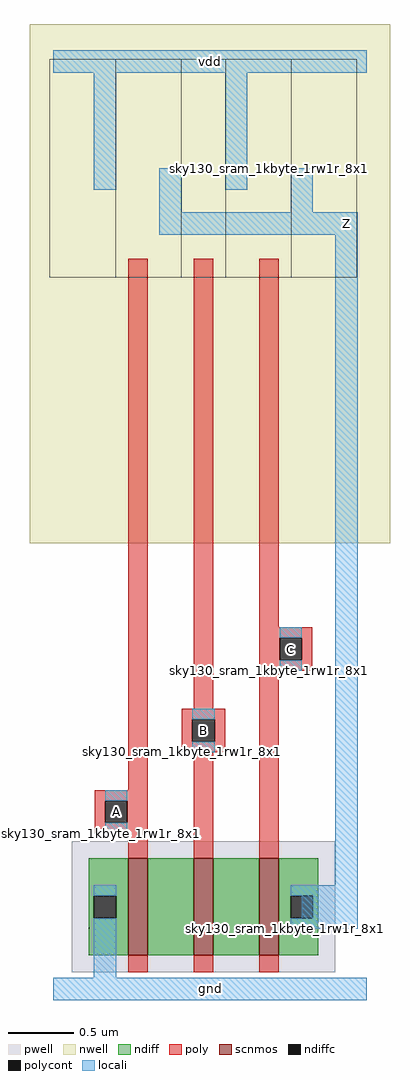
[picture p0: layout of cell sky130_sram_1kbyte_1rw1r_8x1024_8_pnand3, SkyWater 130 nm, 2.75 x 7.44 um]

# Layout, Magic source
magic
tech sky130A
magscale 1 2
<< nwell >>
rect -36 679 514 1471
<< pwell >>
rect 128 25 330 225
<< scnmos >>
rect 214 51 244 199
<< ndiff >>
rect 154 51 214 199
rect 244 51 304 199
<< poly >>
rect 114 303 144 1113
rect 214 427 244 1113
rect 314 551 344 1113
rect 314 535 395 551
rect 314 501 345 535
rect 379 501 395 535
rect 314 485 395 501
rect 196 411 262 427
rect 196 377 212 411
rect 246 377 262 411
rect 196 361 262 377
rect 63 287 144 303
rect 63 253 79 287
rect 113 253 144 287
rect 63 237 144 253
rect 114 225 144 237
rect 214 199 244 361
rect 314 225 344 485
rect 214 25 244 51
<< polycont >>
rect 345 501 379 535
rect 212 377 246 411
rect 79 253 113 287
<< locali >>
rect 0 1397 478 1431
rect 62 1218 96 1397
rect 162 1184 196 1251
rect 262 1218 296 1397
rect 362 1184 396 1251
rect 162 1150 464 1184
rect 345 535 379 551
rect 345 485 379 501
rect 212 411 246 427
rect 212 361 246 377
rect 79 287 113 303
rect 79 237 113 253
rect 430 158 464 1150
rect 379 92 464 158
rect 62 17 96 92
rect 0 -17 478 17
use sky130_sram_1kbyte_1rw1r_8x1024_8_contact_16  sky130_sram_1kbyte_1rw1r_8x1024_8_contact_16_0
transform 1 0 329 0 1 485
box 0 0 1 1
use sky130_sram_1kbyte_1rw1r_8x1024_8_contact_16  sky130_sram_1kbyte_1rw1r_8x1024_8_contact_16_1
transform 1 0 196 0 1 361
box 0 0 1 1
use sky130_sram_1kbyte_1rw1r_8x1024_8_contact_16  sky130_sram_1kbyte_1rw1r_8x1024_8_contact_16_2
transform 1 0 63 0 1 237
box 0 0 1 1
use sky130_sram_1kbyte_1rw1r_8x1024_8_nmos_m1_w0_740_sactive_dli  sky130_sram_1kbyte_1rw1r_8x1024_8_nmos_m1_w0_740_sactive_dli_0
transform 1 0 254 0 1 51
box -26 -26 176 174
use sky130_sram_1kbyte_1rw1r_8x1024_8_nmos_m1_w0_740_sactive_dactive  sky130_sram_1kbyte_1rw1r_8x1024_8_nmos_m1_w0_740_sactive_dactive_0
transform 1 0 154 0 1 51
box 25 74 125 75
use sky130_sram_1kbyte_1rw1r_8x1024_8_nmos_m1_w0_740_sli_dactive  sky130_sram_1kbyte_1rw1r_8x1024_8_nmos_m1_w0_740_sli_dactive_0
transform 1 0 54 0 1 51
box -26 -26 176 174
use sky130_sram_1kbyte_1rw1r_8x1024_8_pmos_m1_w1_120_sli_dli  sky130_sram_1kbyte_1rw1r_8x1024_8_pmos_m1_w1_120_sli_dli_0
transform 1 0 254 0 1 1139
box -59 -54 209 278
use sky130_sram_1kbyte_1rw1r_8x1024_8_pmos_m1_w1_120_sli_dli  sky130_sram_1kbyte_1rw1r_8x1024_8_pmos_m1_w1_120_sli_dli_1
transform 1 0 154 0 1 1139
box -59 -54 209 278
use sky130_sram_1kbyte_1rw1r_8x1024_8_pmos_m1_w1_120_sli_dli  sky130_sram_1kbyte_1rw1r_8x1024_8_pmos_m1_w1_120_sli_dli_2
transform 1 0 54 0 1 1139
box -59 -54 209 278
<< labels >>
rlabel locali s 96 270 96 270 4 A
port 1 nsew
rlabel locali s 229 394 229 394 4 B
port 2 nsew
rlabel locali s 362 518 362 518 4 C
port 3 nsew
rlabel locali s 447 1167 447 1167 4 Z
port 4 nsew
rlabel locali s 239 0 239 0 4 gnd
port 5 nsew
rlabel locali s 239 1414 239 1414 4 vdd
port 6 nsew
<< properties >>
string FIXED_BBOX 0 0 478 1414
string GDS_FILE $PDKPATH/libs.ref/sky130_sram_macros/gds/sky130_sram_1kbyte_1rw1r_8x1024_8.gds
string GDS_END 149656
string GDS_START 146646
<< end >>

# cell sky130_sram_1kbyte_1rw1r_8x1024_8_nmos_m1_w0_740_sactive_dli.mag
magic
tech sky130A
magscale 1 2
<< pwell >>
rect -26 -26 176 174
<< scnmos >>
rect 60 0 90 148
<< ndiff >>
rect 0 0 60 148
rect 90 91 150 148
rect 90 57 108 91
rect 142 57 150 91
rect 90 0 150 57
<< ndiffc >>
rect 108 57 142 91
<< poly >>
rect 60 148 90 174
rect 60 -26 90 0
<< locali >>
rect 108 91 142 107
rect 108 41 142 57
use sky130_sram_1kbyte_1rw1r_8x1024_8_contact_11  sky130_sram_1kbyte_1rw1r_8x1024_8_contact_11_0
transform 1 0 100 0 1 41
box 0 0 1 1
<< labels >>
rlabel locali s 125 74 125 74 4 D
port 1 nsew
rlabel poly s 75 74 75 74 4 G
port 2 nsew
rlabel mvpsubdiff s 25 74 25 74 4 S
<< properties >>
string FIXED_BBOX -25 -26 175 174
string GDS_FILE $PDKPATH/libs.ref/sky130_sram_macros/gds/sky130_sram_1kbyte_1rw1r_8x1024_8.gds
string GDS_END 24370
string GDS_START 23648
<< end >>

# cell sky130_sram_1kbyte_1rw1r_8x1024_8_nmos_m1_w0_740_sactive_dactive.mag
magic
tech sky130A
magscale 1 2
<< labels >>
rlabel poly s 75 74 75 74 4 G
port 1 nsew
rlabel mvpsubdiff s 25 74 25 74 4 S
rlabel mvpsubdiff s 125 74 125 74 4 D
<< properties >>
string GDS_FILE $PDKPATH/libs.ref/sky130_sram_macros/gds/sky130_sram_1kbyte_1rw1r_8x1024_8.gds
string GDS_END 45666
string GDS_START 45018
<< end >>

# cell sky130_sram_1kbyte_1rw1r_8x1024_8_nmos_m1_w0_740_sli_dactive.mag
magic
tech sky130A
magscale 1 2
<< pwell >>
rect -26 -26 176 174
<< scnmos >>
rect 60 0 90 148
<< ndiff >>
rect 0 91 60 148
rect 0 57 8 91
rect 42 57 60 91
rect 0 0 60 57
rect 90 0 150 148
<< ndiffc >>
rect 8 57 42 91
<< poly >>
rect 60 148 90 174
rect 60 -26 90 0
<< locali >>
rect 8 91 42 107
rect 8 41 42 57
use sky130_sram_1kbyte_1rw1r_8x1024_8_contact_11  sky130_sram_1kbyte_1rw1r_8x1024_8_contact_11_0
transform 1 0 0 0 1 41
box 0 0 1 1
<< labels >>
rlabel locali s 25 74 25 74 4 S
port 1 nsew
rlabel poly s 75 74 75 74 4 G
port 2 nsew
rlabel mvpsubdiff s 125 74 125 74 4 D
<< properties >>
string FIXED_BBOX -25 -26 175 174
string GDS_FILE $PDKPATH/libs.ref/sky130_sram_macros/gds/sky130_sram_1kbyte_1rw1r_8x1024_8.gds
string GDS_END 25184
string GDS_START 24462
<< end >>
